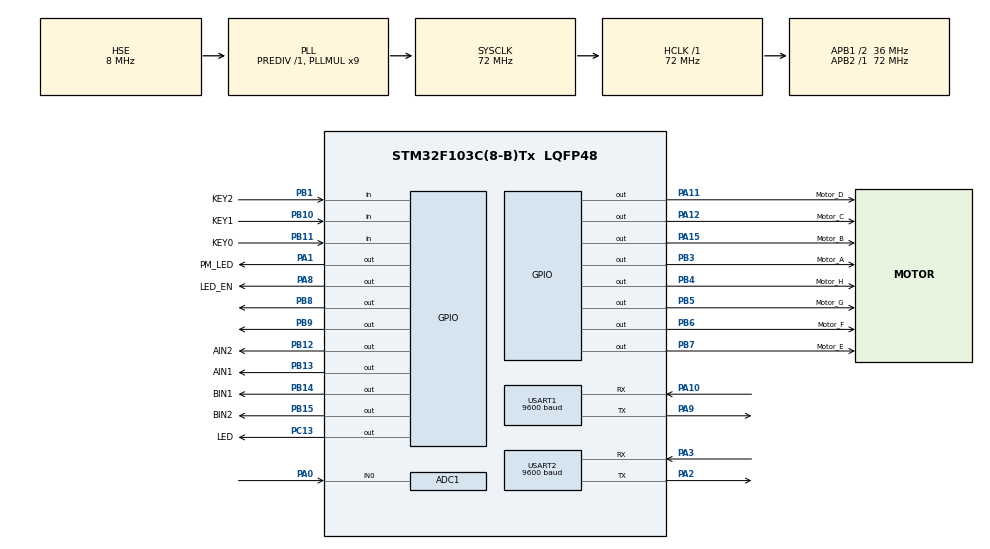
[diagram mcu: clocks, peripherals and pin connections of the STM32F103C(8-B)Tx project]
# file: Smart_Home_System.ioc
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ADC1.Channel-2\#ChannelRegularConversion=ADC_CHANNEL_0
ADC1.ContinuousConvMode=ENABLE
ADC1.NbrOfConversionFlag=1
ADC1.Rank-2\#ChannelRegularConversion=1
ADC1.SamplingTime-2\#ChannelRegularConversion=ADC_SAMPLETIME_1CYCLE_5
ADC1.master=1
Mcu.Family=STM32F1
Mcu.Name=STM32F103C(8-B)Tx
Mcu.Package=LQFP48
NVIC.ADC1_2_IRQn=true\:0\:0\:false\:false\:true\:true\:true\:true
NVIC.PriorityGroup=NVIC_PRIORITYGROUP_4
NVIC.USART2_IRQn=true\:0\:0\:false\:false\:true\:true\:true\:true
PA0-WKUP.Signal=ADCx_IN0
PA1.GPIO_Label=PM_LED
PA1.GPIO_PuPd=GPIO_PULLUP
PA1.Signal=GPIO_Output
PA10.Mode=Asynchronous
PA10.Signal=USART1_RX
PA11.GPIO_Label=Motor_D
PA11.GPIO_PuPd=GPIO_PULLDOWN
PA11.PinState=GPIO_PIN_RESET
PA11.Signal=GPIO_Output
PA12.GPIO_Label=Motor_C
PA12.GPIO_PuPd=GPIO_PULLDOWN
PA12.PinState=GPIO_PIN_RESET
PA12.Signal=GPIO_Output
PA13.Mode=Serial_Wire
PA13.Signal=SYS_JTMS-SWDIO
PA14.Mode=Serial_Wire
PA14.Signal=SYS_JTCK-SWCLK
PA15.GPIO_Label=Motor_B
PA15.GPIO_PuPd=GPIO_PULLDOWN
PA15.PinState=GPIO_PIN_RESET
PA15.Signal=GPIO_Output
PA2.Mode=Asynchronous
PA2.Signal=USART2_TX
PA3.Mode=Asynchronous
PA3.Signal=USART2_RX
PA8.GPIO_Label=LED_EN
PA8.GPIO_PuPd=GPIO_PULLUP
PA8.Signal=GPIO_Output
PA9.Mode=Asynchronous
PA9.Signal=USART1_TX
PB1.GPIO_Label=KEY2
PB1.GPIO_Mode=GPIO_MODE_INPUT
PB1.GPIO_PuPd=GPIO_PULLUP
PB1.Signal=GPIO_Input
PB10.GPIO_Label=KEY1
PB10.GPIO_PuPd=GPIO_PULLUP
PB10.Signal=GPIO_Input
PB11.GPIO_Label=KEY0
PB11.GPIO_PuPd=GPIO_PULLUP
PB11.Signal=GPIO_Input
PB12.GPIO_Label=AIN2
PB12.GPIO_ModeDefaultOutputPP=GPIO_MODE_OUTPUT_PP
PB12.GPIO_PuPd=GPIO_PULLUP
PB12.PinState=GPIO_PIN_SET
PB12.Signal=GPIO_Output
PB13.GPIO_Label=AIN1
PB13.GPIO_PuPd=GPIO_PULLUP
PB13.PinState=GPIO_PIN_SET
PB13.Signal=GPIO_Output
PB14.GPIO_Label=BIN1
PB14.GPIO_PuPd=GPIO_PULLUP
PB14.PinState=GPIO_PIN_SET
PB14.Signal=GPIO_Output
PB15.GPIO_Label=BIN2
PB15.GPIO_PuPd=GPIO_PULLUP
PB15.PinState=GPIO_PIN_SET
PB15.Signal=GPIO_Output
PB3.GPIO_Label=Motor_A
PB3.GPIO_PuPd=GPIO_PULLDOWN
PB3.PinState=GPIO_PIN_RESET
PB3.Signal=GPIO_Output
PB4.GPIO_Label=Motor_H
PB4.GPIO_PuPd=GPIO_PULLDOWN
PB4.PinState=GPIO_PIN_RESET
PB4.Signal=GPIO_Output
PB5.GPIO_Label=Motor_G
PB5.GPIO_PuPd=GPIO_PULLDOWN
PB5.PinState=GPIO_PIN_RESET
PB5.Signal=GPIO_Output
PB6.GPIO_Label=Motor_F
PB6.GPIO_PuPd=GPIO_PULLDOWN
PB6.PinState=GPIO_PIN_RESET
PB6.Signal=GPIO_Output
PB7.GPIO_Label=Motor_E
PB7.GPIO_PuPd=GPIO_PULLDOWN
PB7.PinState=GPIO_PIN_RESET
PB7.Signal=GPIO_Output
PB8.GPIO_PuPd=GPIO_PULLUP
PB8.Signal=GPIO_Output
PB9.GPIO_PuPd=GPIO_PULLUP
PB9.Signal=GPIO_Output
PC13-TAMPER-RTC.GPIO_Label=LED
PC13-TAMPER-RTC.GPIO_PuPd=GPIO_PULLUP
PC13-TAMPER-RTC.Signal=GPIO_Output
PD0-OSC_IN.Mode=HSE-External-Oscillator
PD0-OSC_IN.Signal=RCC_OSC_IN
PD1-OSC_OUT.Mode=HSE-External-Oscillator
PD1-OSC_OUT.Signal=RCC_OSC_OUT
ProjectManager.HeapSize=0x200
ProjectManager.StackSize=0x400
ProjectManager.TargetToolchain=MDK-ARM V5
RCC.ADCPresc=RCC_ADCPCLK2_DIV6
RCC.AHBFreq_Value=72000000
RCC.APB1CLKDivider=RCC_HCLK_DIV2
RCC.APB1Freq_Value=36000000
RCC.APB1TimFreq_Value=72000000
RCC.APB2Freq_Value=72000000
RCC.APB2TimFreq_Value=72000000
RCC.HCLKFreq_Value=72000000
RCC.PLLMUL=RCC_PLL_MUL9
RCC.PLLSourceVirtual=RCC_PLLSOURCE_HSE
RCC.SYSCLKFreq_VALUE=72000000
RCC.SYSCLKSource=RCC_SYSCLKSOURCE_PLLCLK
RCC.USBFreq_Value=72000000
SH.ADCx_IN0.0=ADC1_IN0,IN0
USART1.BaudRate=9600
USART1.VirtualMode=VM_ASYNC
USART2.BaudRate=9600
USART2.VirtualMode=VM_ASYNC
board=custom

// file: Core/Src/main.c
/* USER CODE BEGIN Header */
/**
  ******************************************************************************
  * @file           : main.c
  * @brief          : Main program body
  ******************************************************************************
  * @attention
  *
  * Copyright (c) 2024 STMicroelectronics.
  * All rights reserved.
  *
  * This software is licensed under terms that can be found in the LICENSE file
  * in the root directory of this software component.
  * If no LICENSE file comes with this software, it is provided AS-IS.
  *
  ******************************************************************************
  */
/* USER CODE END Header */
#include "main.h"
#include "adc.h"
#include "usart.h"
#include "gpio.h"

/* USER CODE BEGIN Includes */
#include "Stepper.h"
#include "oled.h"
#include "bmp.h"
//#include "control.h"
#include "menu.h"

/* USER CODE END Includes */

/* USER CODE BEGIN PD */
 uint8_t rx;
/* USER CODE END PD */

void SystemClock_Config(void);

int main(void)
{
  /* USER CODE BEGIN 1 */
	int menu2;
	// uint8_t delayFlag = 0;
	   /* USER CODE BEGIN 0 */
	//uint16_t ADC_Value;
  /* USER CODE END 0 */

  /* USER CODE END 1 */

  /* MCU Configuration--------------------------------------------------------*/

  /* Reset of all peripherals, Initializes the Flash interface and the Systick. */
  HAL_Init();

  /* Configure the system clock */
  SystemClock_Config();

  /* Initialize all configured peripherals */
  MX_GPIO_Init();
  MX_ADC1_Init();
  MX_USART2_UART_Init();
  MX_USART1_UART_Init();
  /* USER CODE BEGIN 2 */
  HAL_ADCEx_Calibration_Start(&hadc1);
  HAL_InitTick(TICK_INT_PRIORITY);
	HAL_UART_Receive_IT(&huart2, &rx, 1);
	HAL_Delay(10);
	OLED_Init();
	OLED_ColorTurn(0);
	OLED_DisplayTurn(0);
	OLED_Clear();

  /* USER CODE END 2 */

  /* Infinite loop */
  while (1)
  {

    /* USER CODE BEGIN 3 */
		menu2=menu1();
		if(menu2==1) menu2_win();
		if(menu2==2) menu2_led();
		if(menu2==3) menu2_fun();
		if(menu2==4) menu2_air();

  }
  /* USER CODE END 3 */
}

void SystemClock_Config(void)
{
  RCC_OscInitTypeDef RCC_OscInitStruct = {0};
  RCC_ClkInitTypeDef RCC_ClkInitStruct = {0};
  RCC_PeriphCLKInitTypeDef PeriphClkInit = {0};

  /** Initializes the RCC Oscillators according to the specified parameters
  * in the RCC_OscInitTypeDef structure.
  */
  RCC_OscInitStruct.OscillatorType = RCC_OSCILLATORTYPE_HSE;
  RCC_OscInitStruct.HSEState = RCC_HSE_ON;
  RCC_OscInitStruct.HSEPredivValue = RCC_HSE_PREDIV_DIV1;
  RCC_OscInitStruct.HSIState = RCC_HSI_ON;
  RCC_OscInitStruct.PLL.PLLState = RCC_PLL_ON;
  RCC_OscInitStruct.PLL.PLLSource = RCC_PLLSOURCE_HSE;
  RCC_OscInitStruct.PLL.PLLMUL = RCC_PLL_MUL9;
  if (HAL_RCC_OscConfig(&RCC_OscInitStruct) != HAL_OK)
  {
    Error_Handler();
  }

  /** Initializes the CPU, AHB and APB buses clocks
  */
  RCC_ClkInitStruct.ClockType = RCC_CLOCKTYPE_HCLK|RCC_CLOCKTYPE_SYSCLK
                              |RCC_CLOCKTYPE_PCLK1|RCC_CLOCKTYPE_PCLK2;
  RCC_ClkInitStruct.SYSCLKSource = RCC_SYSCLKSOURCE_PLLCLK;
  RCC_ClkInitStruct.AHBCLKDivider = RCC_SYSCLK_DIV1;
  RCC_ClkInitStruct.APB1CLKDivider = RCC_HCLK_DIV2;
  RCC_ClkInitStruct.APB2CLKDivider = RCC_HCLK_DIV1;

  if (HAL_RCC_ClockConfig(&RCC_ClkInitStruct, FLASH_LATENCY_2) != HAL_OK)
  {
    Error_Handler();
  }
  PeriphClkInit.PeriphClockSelection = RCC_PERIPHCLK_ADC;
  PeriphClkInit.AdcClockSelection = RCC_ADCPCLK2_DIV6;
  if (HAL_RCCEx_PeriphCLKConfig(&PeriphClkInit) != HAL_OK)
  {
    Error_Handler();
  }
}

void Error_Handler(void)
{
  __disable_irq();
  while (1)
  {
  }
}
